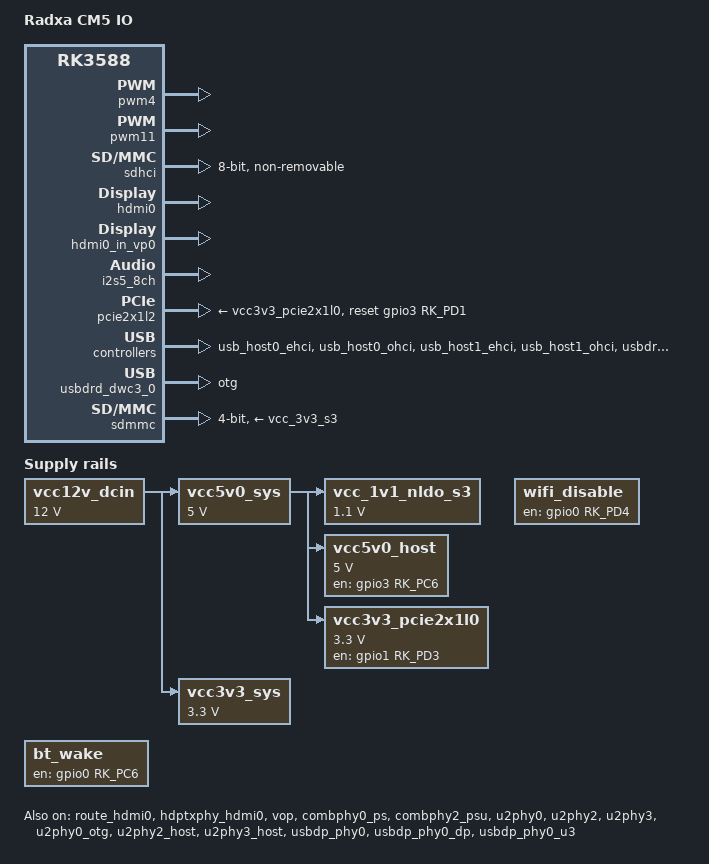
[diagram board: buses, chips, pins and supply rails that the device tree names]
// SPDX-License-Identifier: (GPL-2.0+ OR MIT)
/*
 * Copyright (c) 2022 Rockchip Electronics Co., Ltd.
 * Copyright (c) 2022 Radxa Limited
 *
 */

/dts-v1/;

#include "rk3588s-radxa-cm5-module.dtsi"

/ {
	model = "Radxa CM5 IO";
	compatible = "radxa,cm5-io", "rockchip,rk3588";

	/delete-node/ chosen;

	vcc12v_dcin: vcc12v-dcin {
		compatible = "regulator-fixed";
		regulator-name = "vcc12v_dcin";
		regulator-always-on;
		regulator-boot-on;
		regulator-min-microvolt = <12000000>;
		regulator-max-microvolt = <12000000>;
	};

	vcc5v0_sys: vcc5v0-sys {
		compatible = "regulator-fixed";
		regulator-name = "vcc5v0_sys";
		regulator-always-on;
		regulator-boot-on;
		regulator-min-microvolt = <5000000>;
		regulator-max-microvolt = <5000000>;
		vin-supply = <&vcc12v_dcin>;
	};

	vcc_1v1_nldo_s3: vcc-1v1-nldo-s3 {
		compatible = "regulator-fixed";
		regulator-name = "vcc_1v1_nldo_s3";
		regulator-always-on;
		regulator-boot-on;
		regulator-min-microvolt = <1100000>;
		regulator-max-microvolt = <1100000>;
		vin-supply = <&vcc5v0_sys>;
	};

	hdmi0_sound: hdmi0-sound {
		status = "okay";
		compatible = "rockchip,hdmi";
		rockchip,mclk-fs = <128>;
		rockchip,card-name = "rockchip-hdmi0";
		rockchip,cpu = <&i2s5_8ch>;
		rockchip,codec = <&hdmi0>;
		rockchip,jack-det;
	};

	vcc3v3_sys: vcc3v3-sys {
		compatible = "regulator-fixed";
		regulator-name = "vcc3v3_sys";
		regulator-always-on;
		regulator-boot-on;
		regulator-min-microvolt = <3300000>;
		regulator-max-microvolt = <3300000>;
		vin-supply = <&vcc12v_dcin>;
	};

	vcc5v0_host: vcc5v0-host-regulator {
		compatible = "regulator-fixed";
		regulator-name = "vcc5v0_host";
		regulator-boot-on;
		regulator-always-on;
		regulator-min-microvolt = <5000000>;
		regulator-max-microvolt = <5000000>;
		enable-active-high;
		gpio = <&gpio3 RK_PC6 GPIO_ACTIVE_HIGH>;
		pinctrl-names = "default";
		pinctrl-0 = <&vcc5v0_host_en>;
		vin-supply = <&vcc5v0_sys>;
	};

	vcc3v3_pcie2x1l0: vcc3v3-pcie2x1l0 {
		compatible = "regulator-fixed";
		regulator-name = "vcc3v3_pcie2x1l0";
		regulator-min-microvolt = <3300000>;
		regulator-max-microvolt = <3300000>;
		enable-active-high;
		regulator-boot-on;
		regulator-always-on;
		gpios = <&gpio1 RK_PD3 GPIO_ACTIVE_HIGH>;
		startup-delay-us = <50000>;
		vin-supply = <&vcc5v0_sys>;
	};

	wifi_disable: wifi-diable-gpio-regulator {
		compatible = "regulator-fixed";
		regulator-name = "wifi_disable";
		enable-active-high;
		gpio = <&gpio0 RK_PD4 GPIO_ACTIVE_HIGH>;
		regulator-boot-on;
		regulator-always-on;
	};

	bt_wake: bt-wake-gpio-regulator {
		compatible = "regulator-fixed";
		regulator-name = "bt_wake";
		enable-active-high;
		gpio = <&gpio0 RK_PC6 GPIO_ACTIVE_HIGH>;
		regulator-boot-on;
		regulator-always-on;
	};
};

&pwm4 {
	status = "okay";
	pinctrl-0 = <&pwm4m0_pins>;
};

&pwm11 {
	status = "okay";
	pinctrl-0 = <&pwm11m3_pins>;
};

&sdhci {
	bus-width = <8>;
	no-sdio;
	no-sd;
	non-removable;
	max-frequency = <150000000>;
	mmc-hs400-1_8v;
	status = "okay";
};

&hdmi0 {
	status = "okay";
};

&hdmi0_in_vp0 {
	status = "okay";
};

&route_hdmi0 {
	status = "okay";
};

&hdptxphy_hdmi0 {
	status = "okay";
};

&i2s5_8ch {
	status = "okay";
};

&vop {
	status = "okay";
};

&vop_mmu {
	status = "okay";
};

&vp0 {
	rockchip,plane-mask = <(1 << ROCKCHIP_VOP2_CLUSTER0 | 1 << ROCKCHIP_VOP2_ESMART0)>;
	rockchip,primary-plane = <ROCKCHIP_VOP2_ESMART0>;
};

&vp1 {
	rockchip,plane-mask = <(1 << ROCKCHIP_VOP2_CLUSTER1 | 1 << ROCKCHIP_VOP2_ESMART1)>;
	rockchip,primary-plane = <ROCKCHIP_VOP2_ESMART1>;
};

&vp2 {
	rockchip,plane-mask = <(1 << ROCKCHIP_VOP2_CLUSTER2 | 1 << ROCKCHIP_VOP2_ESMART2)>;
	rockchip,primary-plane = <ROCKCHIP_VOP2_ESMART2>;
};

&vp3 {
	rockchip,plane-mask = <(1 << ROCKCHIP_VOP2_CLUSTER3 | 1 << ROCKCHIP_VOP2_ESMART3)>;
	rockchip,primary-plane = <ROCKCHIP_VOP2_ESMART3>;
};

&pinctrl {

	usb {
		vcc5v0_host_en: vcc5v0-host-en {
			rockchip,pins = <3 RK_PC6 RK_FUNC_GPIO &pcfg_pull_none>;
		};
	};
};

&pcie2x1l2 {
	reset-gpios = <&gpio3 RK_PD1 GPIO_ACTIVE_HIGH>;
	vpcie3v3-supply = <&vcc3v3_pcie2x1l0>;
	status = "okay";
};

&combphy0_ps {
	status = "okay";
};

&combphy2_psu {
	status = "okay";
};

&u2phy0 {
	status = "okay";
};

&u2phy2 {
	status = "okay";
};

&u2phy3 {
	status = "okay";
};

&u2phy0_otg {
	status = "okay";
};

&u2phy2_host {
	status = "okay";
};

&u2phy3_host {
	status = "okay";
};

&usb_host0_ehci {
	status = "okay";
};

&usb_host0_ohci {
	status = "okay";
};

&usb_host1_ehci {
	status = "okay";
};

&usb_host1_ohci {
	status = "okay";
};

&usbdp_phy0 {
	status = "okay";
};

&usbdp_phy0_dp {
	status = "okay";
};

&usbdp_phy0_u3 {
	status = "okay";
};

&usbdrd3_0 {
	status = "okay";
};

&usbdrd_dwc3_0 {
	dr_mode = "otg";
	status = "okay";
};

&usbhost3_0 {
	status = "okay";
};

&usbhost_dwc3_0 {
	status = "okay";
};

&sdmmc {
	max-frequency = <200000000>;
	no-sdio;
	no-mmc;
	bus-width = <4>;
	cap-mmc-highspeed;
	cap-sd-highspeed;
	disable-wp;
	sd-uhs-sdr104;
	vmmc-supply = <&vcc_3v3_s3>;
	vqmmc-supply = <&vccio_sd_s0>;
	pinctrl-names = "default";
	pinctrl-0 = <&sdmmc_bus4 &sdmmc_clk &sdmmc_cmd &sdmmc_det>;
	status = "okay";
};


